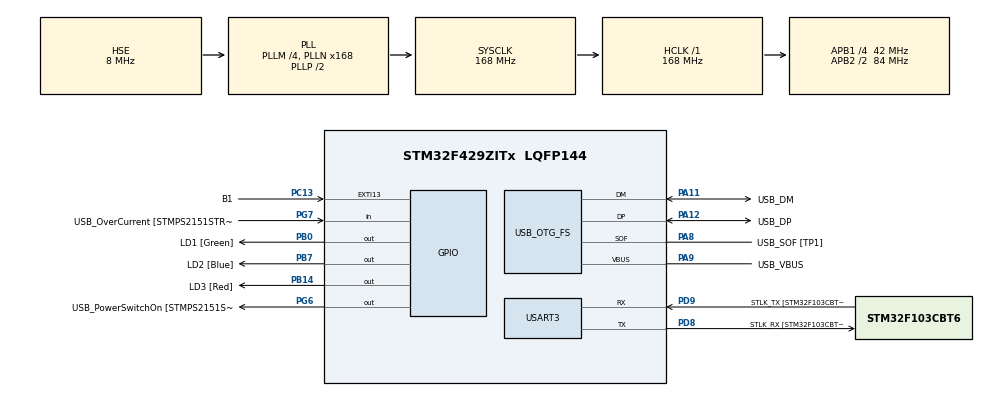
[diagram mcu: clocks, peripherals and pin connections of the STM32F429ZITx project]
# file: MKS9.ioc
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Mcu.Family=STM32F4
Mcu.Name=STM32F429ZITx
Mcu.Package=LQFP144
NVIC.OTG_FS_IRQn=true\:0\:0\:false\:false\:true\:false\:true\:true
NVIC.PriorityGroup=NVIC_PRIORITYGROUP_4
PA1.GPIO_Label=RMII_REF_CLK [LAN8742A-CZ-TR_REFCLK0]
PA1.Signal=ETH_REF_CLK
PA10.GPIO_Label=USB_ID
PA10.Signal=USB_OTG_FS_ID
PA11.GPIO_Label=USB_DM
PA11.Mode=Device_Only
PA11.Signal=USB_OTG_FS_DM
PA12.GPIO_Label=USB_DP
PA12.Mode=Device_Only
PA12.Signal=USB_OTG_FS_DP
PA13.GPIO_Label=TMS
PA13.Mode=Serial_Wire
PA13.Signal=SYS_JTMS-SWDIO
PA14.GPIO_Label=TCK
PA14.Mode=Serial_Wire
PA14.Signal=SYS_JTCK-SWCLK
PA2.GPIO_Label=RMII_MDIO [LAN8742A-CZ-TR_MDIO]
PA2.Signal=ETH_MDIO
PA7.GPIO_Label=RMII_CRS_DV [LAN8742A-CZ-TR_CRS_DV]
PA7.Signal=ETH_CRS_DV
PA8.GPIO_Label=USB_SOF [TP1]
PA8.Mode=Activate_SOF_FS
PA8.Signal=USB_OTG_FS_SOF
PA9.GPIO_Label=USB_VBUS
PA9.Mode=Activate_VBUS
PA9.Signal=USB_OTG_FS_VBUS
PB0.GPIO_Label=LD1 [Green]
PB0.Signal=GPIO_Output
PB13.GPIO_Label=RMII_TXD1 [LAN8742A-CZ-TR_TXD1]
PB13.Signal=ETH_TXD1
PB14.GPIO_Label=LD3 [Red]
PB14.Signal=GPIO_Output
PB7.GPIO_Label=LD2 [Blue]
PB7.Signal=GPIO_Output
PC1.GPIO_Label=RMII_MDC [LAN8742A-CZ-TR_MDC]
PC1.Signal=ETH_MDC
PC13.GPIO_Label=B1
PC13.Signal=GPXTI13
PC14/OSC32_IN.Mode=LSE-External-Oscillator
PC14/OSC32_IN.Signal=RCC_OSC32_IN
PC15/OSC32_OUT.Mode=LSE-External-Oscillator
PC15/OSC32_OUT.Signal=RCC_OSC32_OUT
PC4.GPIO_Label=RMII_RXD0 [LAN8742A-CZ-TR_RXD0]
PC4.Signal=ETH_RXD0
PC5.GPIO_Label=RMII_RXD1 [LAN8742A-CZ-TR_RXD1]
PC5.Signal=ETH_RXD1
PD8.GPIO_Label=STLK_RX [STM32F103CBT6_PA3]
PD8.Mode=Asynchronous
PD8.Signal=USART3_TX
PD9.GPIO_Label=STLK_TX [STM32F103CBT6_PA2]
PD9.Mode=Asynchronous
PD9.Signal=USART3_RX
PG11.GPIO_Label=RMII_TX_EN [LAN8742A-CZ-TR_TXEN]
PG11.Signal=ETH_TX_EN
PG13.GPIO_Label=RMII_TXD0 [LAN8742A-CZ-TR_TXD0]
PG13.Signal=ETH_TXD0
PG6.GPIO_Label=USB_PowerSwitchOn [STMPS2151STR_EN]
PG6.Signal=GPIO_Output
PG7.GPIO_Label=USB_OverCurrent [STMPS2151STR_FAULT]
PG7.Signal=GPIO_Input
PH0/OSC_IN.GPIO_Label=MCO [STM32F103CBT6_PA8]
PH0/OSC_IN.Mode=HSE-External-Clock-Source
PH0/OSC_IN.Signal=RCC_OSC_IN
PH1/OSC_OUT.Mode=HSE-External-Clock-Source
PH1/OSC_OUT.Signal=RCC_OSC_OUT
ProjectManager.HeapSize=0x200
ProjectManager.StackSize=0x400
ProjectManager.TargetToolchain=STM32CubeIDE
RCC.48MHZClocksFreq_Value=48000000
RCC.AHBFreq_Value=168000000
RCC.APB1CLKDivider=RCC_HCLK_DIV4
RCC.APB1Freq_Value=42000000
RCC.APB1TimFreq_Value=84000000
RCC.APB2CLKDivider=RCC_HCLK_DIV2
RCC.APB2Freq_Value=84000000
RCC.APB2TimCLKDivider=2
RCC.APB2TimFreq_Value=168000000
RCC.CortexFreq_Value=168000000
RCC.HCLKFreq_Value=168000000
RCC.HSE_VALUE=8000000
RCC.HSI_VALUE=16000000
RCC.PLLM=4
RCC.PLLMUL=RCC_PLL_MUL9
RCC.PLLN=168
RCC.PLLQ=7
RCC.PRESCALERUSB=RCC_USBCLKSOURCE_PLL_DIV1_5
RCC.SYSCLKFreq_VALUE=168000000
RCC.SYSCLKSource=RCC_SYSCLKSOURCE_PLLCLK
RCC.SYSCLKSourceVirtual=RCC_SYSCLKSOURCE_PLLCLK
RCC.USBFreq_Value=48000000
RCC.VCOOutputFreq_Value=336000000
USART3.VirtualMode=VM_ASYNC
USB_DEVICE.CLASS_NAME_FS=HID
USB_DEVICE.VirtualMode-HID_FS=Hid
USB_DEVICE.VirtualModeFS=Hid_FS
USB_OTG_FS.VirtualMode=Device_Only
VP_USB_DEVICE_VS_USB_DEVICE_HID_FS.Mode=HID_FS
board=NUCLEO-F429ZI

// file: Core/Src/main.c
/* USER CODE BEGIN Header */
/**
  ******************************************************************************
  * @file           : main.c
  * @brief          : Main program body
  ******************************************************************************
  * @attention
  *
  * Copyright (c) 2025 STMicroelectronics.
  * All rights reserved.
  *
  * This software is licensed under terms that can be found in the LICENSE file
  * in the root directory of this software component.
  * If no LICENSE file comes with this software, it is provided AS-IS.
  *
  ******************************************************************************
  */
/* USER CODE END Header */
#include "main.h"
#include "usb_device.h"

/* USER CODE BEGIN Includes */
#include "usbd_hid.h"
#include "math.h"
extern USBD_HandleTypeDef hUsbDeviceFS;

/* USER CODE END Includes */

UART_HandleTypeDef huart3;

void SystemClock_Config(void);
static void MX_GPIO_Init(void);
static void MX_USART3_UART_Init(void);

int main(void)
{

  /* MCU Configuration--------------------------------------------------------*/

  /* Reset of all peripherals, Initializes the Flash interface and the Systick. */
  HAL_Init();

  /* Configure the system clock */
  SystemClock_Config();

  /* Initialize all configured peripherals */
  MX_GPIO_Init();
  MX_USART3_UART_Init();
  MX_USB_DEVICE_Init();
  /* USER CODE BEGIN 2 */

  void Mousedraw(int8_t btn, int8_t shiftx, int8_t shifty)
  {
	  uint8_t buff[4];
	  buff[0] = btn; // press the button
	  buff[1] = (int8_t)(shiftx); // shift X
	  buff[2] = (int8_t)(shifty); // shift Y
	  buff[3] = 0; // no scroll
	  USBD_HID_SendReport(&hUsbDeviceFS, buff, sizeof(buff));
	  HAL_Delay(USBD_HID_GetPollingInterval(&hUsbDeviceFS));
  }

  void circle(int numPoints,int radius,int start, int stop){
	  for (int i = start; i < stop; i++)
	  {
		  double angle = 2.0 * M_PI * i / numPoints;

		  int8_t x = (int8_t)(radius * cos(angle));
		  int8_t y = (int8_t)(radius * sin(angle));

		  Mousedraw(0x01, x, y);
	  }
	  Mousedraw(0x00, 0, 00);
  }

  /* USER CODE END 2 */

  /* Infinite loop */
  /* USER CODE BEGIN WHILE */
  while (1)
  {
	  if (HAL_GPIO_ReadPin(B1_GPIO_Port, B1_Pin))
	  {
		  int numPoints = 60;      // resolution of the circle
		  int radius = 10;          // circle radius

		  Mousedraw(0x01, 0, 0);
		  circle(numPoints,radius, 0, numPoints);
		  Mousedraw(0x01, 0, 30);
		  Mousedraw(0x00, 0, 20);
		  Mousedraw(0x00, 20, -20);
		  circle(numPoints,radius/4, 0, numPoints);
		  Mousedraw(0x00, -50, 0);
		  circle(numPoints,radius/4, 0, numPoints);
		  Mousedraw(0x00, 55, 45);
		  circle(numPoints,radius/1.1, numPoints*2/5, numPoints*3/5);
	  }

    /* USER CODE END WHILE */

  }
}

void SystemClock_Config(void)
{
  RCC_OscInitTypeDef RCC_OscInitStruct = {0};
  RCC_ClkInitTypeDef RCC_ClkInitStruct = {0};

  /** Configure the main internal regulator output voltage
  */
  __HAL_RCC_PWR_CLK_ENABLE();
  __HAL_PWR_VOLTAGESCALING_CONFIG(PWR_REGULATOR_VOLTAGE_SCALE1);

  /** Initializes the RCC Oscillators according to the specified parameters
  * in the RCC_OscInitTypeDef structure.
  */
  RCC_OscInitStruct.OscillatorType = RCC_OSCILLATORTYPE_HSE;
  RCC_OscInitStruct.HSEState = RCC_HSE_BYPASS;
  RCC_OscInitStruct.PLL.PLLState = RCC_PLL_ON;
  RCC_OscInitStruct.PLL.PLLSource = RCC_PLLSOURCE_HSE;
  RCC_OscInitStruct.PLL.PLLM = 4;
  RCC_OscInitStruct.PLL.PLLN = 168;
  RCC_OscInitStruct.PLL.PLLP = RCC_PLLP_DIV2;
  RCC_OscInitStruct.PLL.PLLQ = 7;
  if (HAL_RCC_OscConfig(&RCC_OscInitStruct) != HAL_OK)
  {
    Error_Handler();
  }

  /** Initializes the CPU, AHB and APB buses clocks
  */
  RCC_ClkInitStruct.ClockType = RCC_CLOCKTYPE_HCLK|RCC_CLOCKTYPE_SYSCLK
                              |RCC_CLOCKTYPE_PCLK1|RCC_CLOCKTYPE_PCLK2;
  RCC_ClkInitStruct.SYSCLKSource = RCC_SYSCLKSOURCE_PLLCLK;
  RCC_ClkInitStruct.AHBCLKDivider = RCC_SYSCLK_DIV1;
  RCC_ClkInitStruct.APB1CLKDivider = RCC_HCLK_DIV4;
  RCC_ClkInitStruct.APB2CLKDivider = RCC_HCLK_DIV2;

  if (HAL_RCC_ClockConfig(&RCC_ClkInitStruct, FLASH_LATENCY_5) != HAL_OK)
  {
    Error_Handler();
  }
}

static void MX_USART3_UART_Init(void)
{

  huart3.Instance = USART3;
  huart3.Init.BaudRate = 115200;
  huart3.Init.WordLength = UART_WORDLENGTH_8B;
  huart3.Init.StopBits = UART_STOPBITS_1;
  huart3.Init.Parity = UART_PARITY_NONE;
  huart3.Init.Mode = UART_MODE_TX_RX;
  huart3.Init.HwFlowCtl = UART_HWCONTROL_NONE;
  huart3.Init.OverSampling = UART_OVERSAMPLING_16;
  if (HAL_UART_Init(&huart3) != HAL_OK)
  {
    Error_Handler();
  }

}

static void MX_GPIO_Init(void)
{
  GPIO_InitTypeDef GPIO_InitStruct = {0};

  /* GPIO Ports Clock Enable */
  __HAL_RCC_GPIOC_CLK_ENABLE();
  __HAL_RCC_GPIOH_CLK_ENABLE();
  __HAL_RCC_GPIOA_CLK_ENABLE();
  __HAL_RCC_GPIOB_CLK_ENABLE();
  __HAL_RCC_GPIOD_CLK_ENABLE();
  __HAL_RCC_GPIOG_CLK_ENABLE();

  /*Configure GPIO pin Output Level */
  HAL_GPIO_WritePin(GPIOB, LD1_Pin|LD3_Pin|LD2_Pin, GPIO_PIN_RESET);

  /*Configure GPIO pin Output Level */
  HAL_GPIO_WritePin(USB_PowerSwitchOn_GPIO_Port, USB_PowerSwitchOn_Pin, GPIO_PIN_RESET);

  /*Configure GPIO pin : B1_Pin */
  GPIO_InitStruct.Pin = B1_Pin;
  GPIO_InitStruct.Mode = GPIO_MODE_IT_RISING;
  GPIO_InitStruct.Pull = GPIO_NOPULL;
  HAL_GPIO_Init(B1_GPIO_Port, &GPIO_InitStruct);

  /*Configure GPIO pins : RMII_MDC_Pin RMII_RXD0_Pin RMII_RXD1_Pin */
  GPIO_InitStruct.Pin = RMII_MDC_Pin|RMII_RXD0_Pin|RMII_RXD1_Pin;
  GPIO_InitStruct.Mode = GPIO_MODE_AF_PP;
  GPIO_InitStruct.Pull = GPIO_NOPULL;
  GPIO_InitStruct.Speed = GPIO_SPEED_FREQ_VERY_HIGH;
  GPIO_InitStruct.Alternate = GPIO_AF11_ETH;
  HAL_GPIO_Init(GPIOC, &GPIO_InitStruct);

  /*Configure GPIO pins : RMII_REF_CLK_Pin RMII_MDIO_Pin RMII_CRS_DV_Pin */
  GPIO_InitStruct.Pin = RMII_REF_CLK_Pin|RMII_MDIO_Pin|RMII_CRS_DV_Pin;
  GPIO_InitStruct.Mode = GPIO_MODE_AF_PP;
  GPIO_InitStruct.Pull = GPIO_NOPULL;
  GPIO_InitStruct.Speed = GPIO_SPEED_FREQ_VERY_HIGH;
  GPIO_InitStruct.Alternate = GPIO_AF11_ETH;
  HAL_GPIO_Init(GPIOA, &GPIO_InitStruct);

  /*Configure GPIO pins : LD1_Pin LD3_Pin LD2_Pin */
  GPIO_InitStruct.Pin = LD1_Pin|LD3_Pin|LD2_Pin;
  GPIO_InitStruct.Mode = GPIO_MODE_OUTPUT_PP;
  GPIO_InitStruct.Pull = GPIO_NOPULL;
  GPIO_InitStruct.Speed = GPIO_SPEED_FREQ_LOW;
  HAL_GPIO_Init(GPIOB, &GPIO_InitStruct);

  /*Configure GPIO pin : RMII_TXD1_Pin */
  GPIO_InitStruct.Pin = RMII_TXD1_Pin;
  GPIO_InitStruct.Mode = GPIO_MODE_AF_PP;
  GPIO_InitStruct.Pull = GPIO_NOPULL;
  GPIO_InitStruct.Speed = GPIO_SPEED_FREQ_VERY_HIGH;
  GPIO_InitStruct.Alternate = GPIO_AF11_ETH;
  HAL_GPIO_Init(RMII_TXD1_GPIO_Port, &GPIO_InitStruct);

  /*Configure GPIO pin : USB_PowerSwitchOn_Pin */
  GPIO_InitStruct.Pin = USB_PowerSwitchOn_Pin;
  GPIO_InitStruct.Mode = GPIO_MODE_OUTPUT_PP;
  GPIO_InitStruct.Pull = GPIO_NOPULL;
  GPIO_InitStruct.Speed = GPIO_SPEED_FREQ_LOW;
  HAL_GPIO_Init(USB_PowerSwitchOn_GPIO_Port, &GPIO_InitStruct);

  /*Configure GPIO pin : USB_OverCurrent_Pin */
  GPIO_InitStruct.Pin = USB_OverCurrent_Pin;
  GPIO_InitStruct.Mode = GPIO_MODE_INPUT;
  GPIO_InitStruct.Pull = GPIO_NOPULL;
  HAL_GPIO_Init(USB_OverCurrent_GPIO_Port, &GPIO_InitStruct);

  /*Configure GPIO pins : RMII_TX_EN_Pin RMII_TXD0_Pin */
  GPIO_InitStruct.Pin = RMII_TX_EN_Pin|RMII_TXD0_Pin;
  GPIO_InitStruct.Mode = GPIO_MODE_AF_PP;
  GPIO_InitStruct.Pull = GPIO_NOPULL;
  GPIO_InitStruct.Speed = GPIO_SPEED_FREQ_VERY_HIGH;
  GPIO_InitStruct.Alternate = GPIO_AF11_ETH;
  HAL_GPIO_Init(GPIOG, &GPIO_InitStruct);

}

void Error_Handler(void)
{
  __disable_irq();
  while (1)
  {
  }
}
